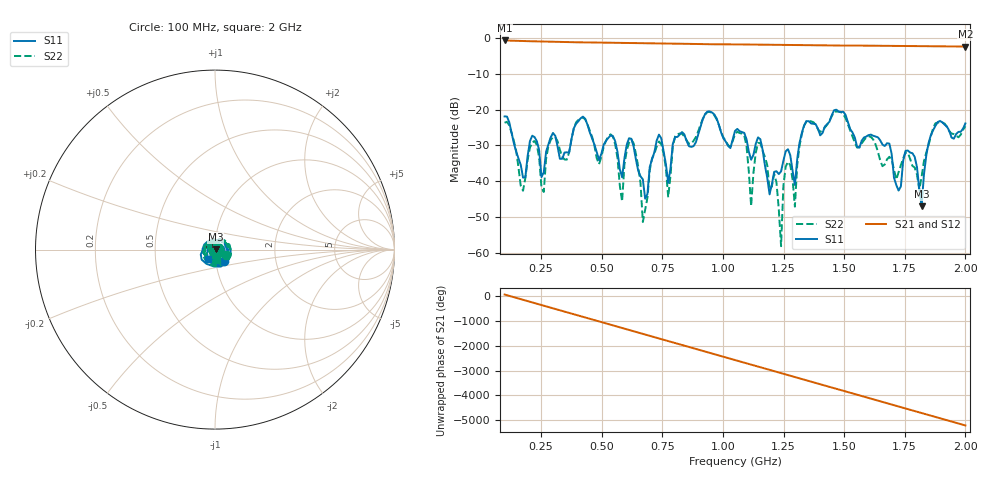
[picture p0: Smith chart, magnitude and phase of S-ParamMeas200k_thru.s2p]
!Keysight Technologies,N5242B,MY48420967,A.15.65.19
!Date: Saturday, December 17, 2022 21:11:28
!Correction: S11(C  2-Port  )
!S21(C  2-Port  )
!S12(C  2-Port  )
!S22(C  2-Port  )
!S2P File: Measurements: S11, S21, S12, S22:
# Hz S  dB  R 50
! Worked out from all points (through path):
!   201 points, 100 MHz to 2 GHz, reference 50 ohm
!   highest |S21| = -0.68 dB at 100 MHz (marker M1); lowest = -2.4 dB at 2 GHz (marker M2)
!   group delay of S21, straight-line fit = 7.75 ns
!   lowest |S11| = -47.0 dB at 1.819 GHz (marker M3), VSWR 1.01, Z = 50.4 + j0.259 ohm
!   |S11| at or under -10 dB: start of sweep to end of sweep
!   |S22| runs from -58.2 to -20.5 dB; largest |S21 - S12| = 0.00039
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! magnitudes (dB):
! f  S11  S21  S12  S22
! 100 MHz  -21.9  -0.7  -0.7  -23.7
! 261.5 MHz  -37.5  -1.0  -1.0  -43.0
! 423 MHz  -22.0  -1.2  -1.2  -22.2
! 546.5 MHz  -27.4  -1.3  -1.3  -27.6
! 584.5 MHz  -38.9  -1.4  -1.4  -45.7
! 632 MHz  -30.4  -1.4  -1.4  -29.4
! 670 MHz  -39.5  -1.5  -1.5  -51.4
! 736.5 MHz  -27.0  -1.5  -1.5  -28.9
! 774.5 MHz  -40.5  -1.6  -1.6  -44.5
! 812.5 MHz  -27.7  -1.6  -1.6  -26.9
! 1.05 GHz  -26.0  -1.8  -1.8  -26.9
! 1.117 GHz  -34.0  -1.8  -1.8  -47.0
! 1.145 GHz  -27.8  -1.8  -1.8  -29.3
! 1.212 GHz  -37.4  -1.9  -1.9  -38.0
! 1.24 GHz  -37.3  -1.9  -1.9  -58.2
! 1.259 GHz  -31.7  -1.9  -1.9  -36.0
! 1.297 GHz  -41.1  -1.9  -1.9  -47.1
! 1.373 GHz  -24.0  -2.0  -2.0  -23.5
! 1.687 GHz  -29.5  -2.2  -2.2  -33.2
! 1.819 GHz  -47.0  -2.3  -2.3  -38.8
! 1.877 GHz  -24.5  -2.3  -2.3  -23.9
! 2 GHz  -23.9  -2.4  -2.4  -24.6
